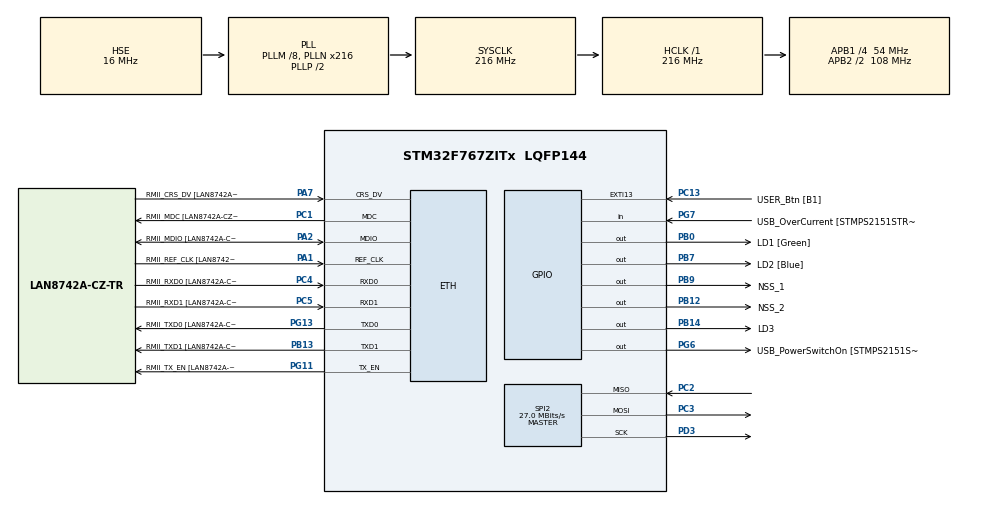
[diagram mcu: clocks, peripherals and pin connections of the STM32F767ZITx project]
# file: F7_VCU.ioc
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CORTEX_M7.BaseAddress-Cortex_Memory_Protection_Unit_Region0_Settings=0x20040000
CORTEX_M7.CPU_DCache=Enabled
CORTEX_M7.CPU_ICache=Enabled
CORTEX_M7.Enable-Cortex_Memory_Protection_Unit_Region0_Settings=MPU_REGION_ENABLE
CORTEX_M7.MPU_Control=MPU_PRIVILEGED_DEFAULT
CORTEX_M7.PREFETCH_ENABLE=1
CORTEX_M7.Size-Cortex_Memory_Protection_Unit_Region0_Settings=MPU_REGION_SIZE_16KB
CORTEX_M7.TypeExtField-Cortex_Memory_Protection_Unit_Region0_Settings=MPU_TEX_LEVEL1
Dma.Request0=SPI2_TX
Dma.Request1=SPI2_RX
Dma.SPI2_RX.1.Direction=DMA_PERIPH_TO_MEMORY
Dma.SPI2_RX.1.FIFOMode=DMA_FIFOMODE_DISABLE
Dma.SPI2_RX.1.Instance=DMA1_Stream1
Dma.SPI2_RX.1.MemDataAlignment=DMA_MDATAALIGN_BYTE
Dma.SPI2_RX.1.MemInc=DMA_MINC_ENABLE
Dma.SPI2_RX.1.Mode=DMA_NORMAL
Dma.SPI2_RX.1.PeriphDataAlignment=DMA_PDATAALIGN_BYTE
Dma.SPI2_RX.1.PeriphInc=DMA_PINC_DISABLE
Dma.SPI2_RX.1.Priority=DMA_PRIORITY_LOW
Dma.SPI2_TX.0.Direction=DMA_MEMORY_TO_PERIPH
Dma.SPI2_TX.0.FIFOMode=DMA_FIFOMODE_DISABLE
Dma.SPI2_TX.0.Instance=DMA1_Stream4
Dma.SPI2_TX.0.MemDataAlignment=DMA_MDATAALIGN_BYTE
Dma.SPI2_TX.0.MemInc=DMA_MINC_ENABLE
Dma.SPI2_TX.0.Mode=DMA_NORMAL
Dma.SPI2_TX.0.PeriphDataAlignment=DMA_PDATAALIGN_BYTE
Dma.SPI2_TX.0.PeriphInc=DMA_PINC_DISABLE
Dma.SPI2_TX.0.Priority=DMA_PRIORITY_LOW
ETH.ETH_RX_DESC_CNT=4
ETH.ETH_TX_DESC_CNT=4
ETH.MediaInterface=HAL_ETH_RMII_MODE
ETH.RxDescAddress=0x20040000
ETH.TxDescAddress=0x20040a00
LWIP.BSP.number=1
LWIP.GATEWAY_ADDRESS=192.168.001.001
LWIP.IP_ADDRESS=192.168.001.002
LWIP.LWIP_ARP=1
LWIP.LWIP_DHCP=0
LWIP.LWIP_ICMP=1
LWIP.MEM_SIZE=10*1024
LWIP.NETMASK_ADDRESS=255.255.255.000
LWIP.Version=v2.1.2_Cube
LWIP0.BSP.STBoard=false
LWIP0.BSP.api=BSP_COMPONENT_DRIVER
LWIP0.BSP.component=LAN8742
LWIP0.BSP.instance=LAN8742
LWIP0.BSP.name=Driver_PHY
LWIP0.BSP.semaphore=S_LAN8742
LWIP0.BSP.solution=LAN8742
Mcu.Family=STM32F7
Mcu.Name=STM32F767ZITx
Mcu.Package=LQFP144
NVIC.DMA1_Stream1_IRQn=true\:0\:0\:false\:false\:true\:false\:true\:true
NVIC.DMA1_Stream4_IRQn=true\:0\:0\:false\:false\:true\:false\:true\:true
NVIC.ETH_IRQn=true\:0\:0\:false\:false\:true\:true\:true\:true
NVIC.PriorityGroup=NVIC_PRIORITYGROUP_4
NVIC.TIM1_UP_TIM10_IRQn=true\:0\:0\:false\:false\:true\:true\:true\:true
NVIC.TIM6_DAC_IRQn=true\:0\:0\:false\:false\:true\:true\:true\:true
PA1.GPIO_Label=RMII_REF_CLK [LAN8742A-CZ-TR_REFCLK0]
PA1.Mode=RMII
PA1.Signal=ETH_REF_CLK
PA10.GPIO_Label=USB_ID
PA10.Signal=USB_OTG_FS_ID
PA11.GPIO_Label=USB_DM
PA11.Signal=USB_OTG_FS_DM
PA12.GPIO_Label=USB_DP
PA12.Signal=USB_OTG_FS_DP
PA13.GPIO_Label=TMS
PA13.Signal=SYS_JTMS-SWDIO
PA14.GPIO_Label=TCK
PA14.Signal=SYS_JTCK-SWCLK
PA2.GPIO_Label=RMII_MDIO [LAN8742A-CZ-TR_MDIO]
PA2.Mode=RMII
PA2.Signal=ETH_MDIO
PA7.GPIO_Label=RMII_CRS_DV [LAN8742A-CZ-TR_CRS_DV]
PA7.Mode=RMII
PA7.Signal=ETH_CRS_DV
PA8.GPIO_Label=USB_SOF [TP1]
PA8.Signal=USB_OTG_FS_SOF
PA9.GPIO_Label=USB_VBUS
PA9.Signal=USB_OTG_FS_VBUS
PB0.GPIO_Label=LD1 [Green]
PB0.Signal=GPIO_Output
PB12.GPIO_Label=NSS_2
PB12.Signal=GPIO_Output
PB13.GPIO_Label=RMII_TXD1 [LAN8742A-CZ-TR_TXD1]
PB13.Mode=RMII
PB13.Signal=ETH_TXD1
PB14.GPIO_Label=LD3
PB14.Signal=GPIO_Output
PB3.GPIO_Label=SW0
PB3.Signal=SYS_JTDO-SWO
PB7.GPIO_Label=LD2 [Blue]
PB7.Signal=GPIO_Output
PB9.GPIO_Label=NSS_1
PB9.Signal=GPIO_Output
PC1.GPIO_Label=RMII_MDC [LAN8742A-CZ-TR_MDC]
PC1.Mode=RMII
PC1.Signal=ETH_MDC
PC13.GPIO_Label=USER_Btn [B1]
PC13.Signal=GPXTI13
PC14/OSC32_IN.Signal=RCC_OSC32_IN
PC15/OSC32_OUT.Signal=RCC_OSC32_OUT
PC2.Mode=Full_Duplex_Master
PC2.Signal=SPI2_MISO
PC3.Mode=Full_Duplex_Master
PC3.Signal=SPI2_MOSI
PC4.GPIO_Label=RMII_RXD0 [LAN8742A-CZ-TR_RXD0]
PC4.Mode=RMII
PC4.Signal=ETH_RXD0
PC5.GPIO_Label=RMII_RXD1 [LAN8742A-CZ-TR_RXD1]
PC5.Mode=RMII
PC5.Signal=ETH_RXD1
PD3.Mode=Full_Duplex_Master
PD3.Signal=SPI2_SCK
PD8.GPIO_Label=STLK_RX [STM32F103CBT6_PA3]
PD8.Signal=USART3_TX
PD9.GPIO_Label=STLK_TX [STM32F103CBT6_PA2]
PD9.Signal=USART3_RX
PG11.GPIO_Label=RMII_TX_EN [LAN8742A-CZ-TR_TXEN]
PG11.Mode=RMII
PG11.Signal=ETH_TX_EN
PG13.GPIO_Label=RMII_TXD0 [LAN8742A-CZ-TR_TXD0]
PG13.Mode=RMII
PG13.Signal=ETH_TXD0
PG6.GPIO_Label=USB_PowerSwitchOn [STMPS2151STR_EN]
PG6.Signal=GPIO_Output
PG7.GPIO_Label=USB_OverCurrent [STMPS2151STR_FAULT]
PG7.Signal=GPIO_Input
PH0/OSC_IN.GPIO_Label=MCO [STM32F103CBT6_PA8]
PH0/OSC_IN.Mode=HSE-External-Oscillator
PH0/OSC_IN.Signal=RCC_OSC_IN
PH1/OSC_OUT.Mode=HSE-External-Oscillator
PH1/OSC_OUT.Signal=RCC_OSC_OUT
ProjectManager.HeapSize=0x200
ProjectManager.StackSize=0x400
ProjectManager.TargetToolchain=STM32CubeIDE
RCC.48MHZClocksFreq_Value=24000000
RCC.AHBFreq_Value=216000000
RCC.APB1CLKDivider=RCC_HCLK_DIV4
RCC.APB1Freq_Value=54000000
RCC.APB1TimFreq_Value=108000000
RCC.APB2CLKDivider=RCC_HCLK_DIV2
RCC.APB2Freq_Value=108000000
RCC.APB2TimFreq_Value=216000000
RCC.CortexFreq_Value=216000000
RCC.HCLKFreq_Value=216000000
RCC.HSE_VALUE=16000000
RCC.HSI_VALUE=16000000
RCC.LSE_VALUE=32768
RCC.PLLM=8
RCC.PLLMUL=RCC_PLL_MUL9
RCC.PLLN=216
RCC.PLLSourceVirtual=RCC_PLLSOURCE_HSE
RCC.PRESCALERUSB=RCC_USBCLKSOURCE_PLL_DIV1_5
RCC.SYSCLKFreq_VALUE=216000000
RCC.SYSCLKSource=RCC_SYSCLKSOURCE_PLLCLK
RCC.SYSCLKSourceVirtual=RCC_SYSCLKSOURCE_PLLCLK
RCC.USBFreq_Value=216000000
RCC.VCOOutputFreq_Value=432000000
SPI2.BaudRatePrescaler=SPI_BAUDRATEPRESCALER_2
SPI2.CalculateBaudRate=27.0 MBits/s
SPI2.DataSize=SPI_DATASIZE_8BIT
SPI2.Direction=SPI_DIRECTION_2LINES
SPI2.Mode=SPI_MODE_MASTER
SPI2.VirtualType=VM_MASTER
TIM1.Period=10000
TIM1.Prescaler=12000
TIM6.Period=5000-1
TIM6.Prescaler=2160-1
VP_LWIP_VS_Enabled.Mode=Enabled
VP_TIM1_VS_ClockSourceINT.Mode=Internal
VP_TIM6_VS_ClockSourceINT.Mode=Enable_Timer
board=NUCLEO-F767ZI

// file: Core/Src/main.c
/* USER CODE BEGIN Header */
/**
  ******************************************************************************
  * @file           : main.c
  * @brief          : Main program body
  ******************************************************************************
  * @attention
  *
  * Copyright (c) 2024 STMicroelectronics.
  * All rights reserved.
  *
  * This software is licensed under terms that can be found in the LICENSE file
  * in the root directory of this software component.
  * If no LICENSE file comes with this software, it is provided AS-IS.
  *
  ******************************************************************************
  */
/* USER CODE END Header */
#include "main.h"
#include "lwip.h"

SPI_HandleTypeDef hspi2;
DMA_HandleTypeDef hdma_spi2_tx;
DMA_HandleTypeDef hdma_spi2_rx;

TIM_HandleTypeDef htim1;
TIM_HandleTypeDef htim6;

/* USER CODE BEGIN PV */
uint8_t txBuff[] = {1,2,3,4,5,6,7,8,9,10,11,12,13,14,15,16,17,18,19,20};
uint8_t rxBuff[20];
uint8_t FLAG_SPI_BUS_IN_USE = 0;

/* USER CODE END PV */

void SystemClock_Config(void);
//static void MPU_Initialize(void);
static void MPU_Config(void);
static void MX_GPIO_Init(void);
static void MX_DMA_Init(void);
static void MX_TIM1_Init(void);
static void MX_SPI2_Init(void);
static void MX_TIM6_Init(void);

/* USER CODE BEGIN 0 */
extern struct netif gnetif;

/* USER CODE END 0 */

int main(void)
{

  /* Enable I-Cache---------------------------------------------------------*/
  SCB_EnableICache();

  /* Enable D-Cache---------------------------------------------------------*/
  SCB_EnableDCache();

  /* MCU Configuration--------------------------------------------------------*/

  /* Reset of all peripherals, Initializes the Flash interface and the Systick. */
  HAL_Init();

  /* MPU Configuration--------------------------------------------------------*/
  MPU_Config();

  /* Configure the system clock */
  SystemClock_Config();

  /* Initialize all configured peripherals */
  MX_GPIO_Init();
  MX_DMA_Init();
  MX_TIM1_Init();
  MX_SPI2_Init();
  MX_LWIP_Init();
  MX_TIM6_Init();
  /* USER CODE BEGIN 2 */
  udpServer_init();
  udpClient_connect();
  tcp_server_init();
  HAL_TIM_Base_Start_IT(&htim1);
  HAL_TIM_Base_Start_IT(&htim6);
  HAL_GPIO_WritePin(GPIOA, NSS_1_Pin, GPIO_PIN_SET);

  //udpClient_connect();

  /* USER CODE END 2 */

  /* Infinite loop */
  while (1)
  {

    /* USER CODE BEGIN 3 */
	  MX_LWIP_Process();

  }
  /* USER CODE END 3 */
}

void SystemClock_Config(void)
{
  RCC_OscInitTypeDef RCC_OscInitStruct = {0};
  RCC_ClkInitTypeDef RCC_ClkInitStruct = {0};

  /** Configure the main internal regulator output voltage
  */
  __HAL_RCC_PWR_CLK_ENABLE();
  __HAL_PWR_VOLTAGESCALING_CONFIG(PWR_REGULATOR_VOLTAGE_SCALE1);

  /** Initializes the RCC Oscillators according to the specified parameters
  * in the RCC_OscInitTypeDef structure.
  */
  RCC_OscInitStruct.OscillatorType = RCC_OSCILLATORTYPE_HSE;
  RCC_OscInitStruct.HSEState = RCC_HSE_ON;
  RCC_OscInitStruct.PLL.PLLState = RCC_PLL_ON;
  RCC_OscInitStruct.PLL.PLLSource = RCC_PLLSOURCE_HSE;
  RCC_OscInitStruct.PLL.PLLM = 8;
  RCC_OscInitStruct.PLL.PLLN = 216;
  RCC_OscInitStruct.PLL.PLLP = RCC_PLLP_DIV2;
  RCC_OscInitStruct.PLL.PLLQ = 2;
  RCC_OscInitStruct.PLL.PLLR = 2;
  if (HAL_RCC_OscConfig(&RCC_OscInitStruct) != HAL_OK)
  {
    Error_Handler();
  }

  /** Activate the Over-Drive mode
  */
  if (HAL_PWREx_EnableOverDrive() != HAL_OK)
  {
    Error_Handler();
  }

  /** Initializes the CPU, AHB and APB buses clocks
  */
  RCC_ClkInitStruct.ClockType = RCC_CLOCKTYPE_HCLK|RCC_CLOCKTYPE_SYSCLK
                              |RCC_CLOCKTYPE_PCLK1|RCC_CLOCKTYPE_PCLK2;
  RCC_ClkInitStruct.SYSCLKSource = RCC_SYSCLKSOURCE_PLLCLK;
  RCC_ClkInitStruct.AHBCLKDivider = RCC_SYSCLK_DIV1;
  RCC_ClkInitStruct.APB1CLKDivider = RCC_HCLK_DIV4;
  RCC_ClkInitStruct.APB2CLKDivider = RCC_HCLK_DIV2;

  if (HAL_RCC_ClockConfig(&RCC_ClkInitStruct, FLASH_LATENCY_7) != HAL_OK)
  {
    Error_Handler();
  }
}

static void MX_SPI2_Init(void)
{

  /* SPI2 parameter configuration*/
  hspi2.Instance = SPI2;
  hspi2.Init.Mode = SPI_MODE_MASTER;
  hspi2.Init.Direction = SPI_DIRECTION_2LINES;
  hspi2.Init.DataSize = SPI_DATASIZE_8BIT;
  hspi2.Init.CLKPolarity = SPI_POLARITY_LOW;
  hspi2.Init.CLKPhase = SPI_PHASE_1EDGE;
  hspi2.Init.NSS = SPI_NSS_SOFT;
  hspi2.Init.BaudRatePrescaler = SPI_BAUDRATEPRESCALER_2;
  hspi2.Init.FirstBit = SPI_FIRSTBIT_MSB;
  hspi2.Init.TIMode = SPI_TIMODE_DISABLE;
  hspi2.Init.CRCCalculation = SPI_CRCCALCULATION_DISABLE;
  hspi2.Init.CRCPolynomial = 7;
  hspi2.Init.CRCLength = SPI_CRC_LENGTH_DATASIZE;
  hspi2.Init.NSSPMode = SPI_NSS_PULSE_ENABLE;
  if (HAL_SPI_Init(&hspi2) != HAL_OK)
  {
    Error_Handler();
  }

}

static void MX_TIM1_Init(void)
{

  TIM_ClockConfigTypeDef sClockSourceConfig = {0};
  TIM_MasterConfigTypeDef sMasterConfig = {0};

  htim1.Instance = TIM1;
  htim1.Init.Prescaler = 12000;
  htim1.Init.CounterMode = TIM_COUNTERMODE_UP;
  htim1.Init.Period = 10000;
  htim1.Init.ClockDivision = TIM_CLOCKDIVISION_DIV1;
  htim1.Init.RepetitionCounter = 0;
  htim1.Init.AutoReloadPreload = TIM_AUTORELOAD_PRELOAD_DISABLE;
  if (HAL_TIM_Base_Init(&htim1) != HAL_OK)
  {
    Error_Handler();
  }
  sClockSourceConfig.ClockSource = TIM_CLOCKSOURCE_INTERNAL;
  if (HAL_TIM_ConfigClockSource(&htim1, &sClockSourceConfig) != HAL_OK)
  {
    Error_Handler();
  }
  sMasterConfig.MasterOutputTrigger = TIM_TRGO_RESET;
  sMasterConfig.MasterOutputTrigger2 = TIM_TRGO2_RESET;
  sMasterConfig.MasterSlaveMode = TIM_MASTERSLAVEMODE_DISABLE;
  if (HAL_TIMEx_MasterConfigSynchronization(&htim1, &sMasterConfig) != HAL_OK)
  {
    Error_Handler();
  }

}

static void MX_TIM6_Init(void)
{

  TIM_MasterConfigTypeDef sMasterConfig = {0};

  htim6.Instance = TIM6;
  htim6.Init.Prescaler = 2160-1;
  htim6.Init.CounterMode = TIM_COUNTERMODE_UP;
  htim6.Init.Period = 5000-1;
  htim6.Init.AutoReloadPreload = TIM_AUTORELOAD_PRELOAD_DISABLE;
  if (HAL_TIM_Base_Init(&htim6) != HAL_OK)
  {
    Error_Handler();
  }
  sMasterConfig.MasterOutputTrigger = TIM_TRGO_RESET;
  sMasterConfig.MasterSlaveMode = TIM_MASTERSLAVEMODE_DISABLE;
  if (HAL_TIMEx_MasterConfigSynchronization(&htim6, &sMasterConfig) != HAL_OK)
  {
    Error_Handler();
  }

}

static void MX_DMA_Init(void)
{

  /* DMA controller clock enable */
  __HAL_RCC_DMA1_CLK_ENABLE();

  /* DMA interrupt init */
  /* DMA1_Stream1_IRQn interrupt configuration */
  HAL_NVIC_SetPriority(DMA1_Stream1_IRQn, 0, 0);
  HAL_NVIC_EnableIRQ(DMA1_Stream1_IRQn);
  /* DMA1_Stream4_IRQn interrupt configuration */
  HAL_NVIC_SetPriority(DMA1_Stream4_IRQn, 0, 0);
  HAL_NVIC_EnableIRQ(DMA1_Stream4_IRQn);

}

static void MX_GPIO_Init(void)
{
  GPIO_InitTypeDef GPIO_InitStruct = {0};

  /* GPIO Ports Clock Enable */
  __HAL_RCC_GPIOC_CLK_ENABLE();
  __HAL_RCC_GPIOH_CLK_ENABLE();
  __HAL_RCC_GPIOA_CLK_ENABLE();
  __HAL_RCC_GPIOB_CLK_ENABLE();
  __HAL_RCC_GPIOD_CLK_ENABLE();
  __HAL_RCC_GPIOG_CLK_ENABLE();

  /*Configure GPIO pin Output Level */
  HAL_GPIO_WritePin(GPIOB, LD1_Pin|NSS_2_Pin|LD3_Pin|LD2_Pin
                          |NSS_1_Pin, GPIO_PIN_RESET);

  /*Configure GPIO pin Output Level */
  HAL_GPIO_WritePin(USB_PowerSwitchOn_GPIO_Port, USB_PowerSwitchOn_Pin, GPIO_PIN_RESET);

  /*Configure GPIO pin : USER_Btn_Pin */
  GPIO_InitStruct.Pin = USER_Btn_Pin;
  GPIO_InitStruct.Mode = GPIO_MODE_IT_RISING;
  GPIO_InitStruct.Pull = GPIO_NOPULL;
  HAL_GPIO_Init(USER_Btn_GPIO_Port, &GPIO_InitStruct);

  /*Configure GPIO pins : LD1_Pin NSS_2_Pin LD3_Pin LD2_Pin
                           NSS_1_Pin */
  GPIO_InitStruct.Pin = LD1_Pin|NSS_2_Pin|LD3_Pin|LD2_Pin
                          |NSS_1_Pin;
  GPIO_InitStruct.Mode = GPIO_MODE_OUTPUT_PP;
  GPIO_InitStruct.Pull = GPIO_NOPULL;
  GPIO_InitStruct.Speed = GPIO_SPEED_FREQ_LOW;
  HAL_GPIO_Init(GPIOB, &GPIO_InitStruct);

  /*Configure GPIO pins : STLK_RX_Pin STLK_TX_Pin */
  GPIO_InitStruct.Pin = STLK_RX_Pin|STLK_TX_Pin;
  GPIO_InitStruct.Mode = GPIO_MODE_AF_PP;
  GPIO_InitStruct.Pull = GPIO_NOPULL;
  GPIO_InitStruct.Speed = GPIO_SPEED_FREQ_VERY_HIGH;
  GPIO_InitStruct.Alternate = GPIO_AF7_USART3;
  HAL_GPIO_Init(GPIOD, &GPIO_InitStruct);

  /*Configure GPIO pin : USB_PowerSwitchOn_Pin */
  GPIO_InitStruct.Pin = USB_PowerSwitchOn_Pin;
  GPIO_InitStruct.Mode = GPIO_MODE_OUTPUT_PP;
  GPIO_InitStruct.Pull = GPIO_NOPULL;
  GPIO_InitStruct.Speed = GPIO_SPEED_FREQ_LOW;
  HAL_GPIO_Init(USB_PowerSwitchOn_GPIO_Port, &GPIO_InitStruct);

  /*Configure GPIO pin : USB_OverCurrent_Pin */
  GPIO_InitStruct.Pin = USB_OverCurrent_Pin;
  GPIO_InitStruct.Mode = GPIO_MODE_INPUT;
  GPIO_InitStruct.Pull = GPIO_NOPULL;
  HAL_GPIO_Init(USB_OverCurrent_GPIO_Port, &GPIO_InitStruct);

  /*Configure GPIO pins : USB_SOF_Pin USB_ID_Pin USB_DM_Pin USB_DP_Pin */
  GPIO_InitStruct.Pin = USB_SOF_Pin|USB_ID_Pin|USB_DM_Pin|USB_DP_Pin;
  GPIO_InitStruct.Mode = GPIO_MODE_AF_PP;
  GPIO_InitStruct.Pull = GPIO_NOPULL;
  GPIO_InitStruct.Speed = GPIO_SPEED_FREQ_VERY_HIGH;
  GPIO_InitStruct.Alternate = GPIO_AF10_OTG_FS;
  HAL_GPIO_Init(GPIOA, &GPIO_InitStruct);

  /*Configure GPIO pin : USB_VBUS_Pin */
  GPIO_InitStruct.Pin = USB_VBUS_Pin;
  GPIO_InitStruct.Mode = GPIO_MODE_INPUT;
  GPIO_InitStruct.Pull = GPIO_NOPULL;
  HAL_GPIO_Init(USB_VBUS_GPIO_Port, &GPIO_InitStruct);

}

/* USER CODE BEGIN 4 */
void HAL_SPI_TxRxCpltCallback(SPI_HandleTypeDef *hspi)
{
    //Release NSS after transfer
	HAL_GPIO_WritePin(GPIOA, NSS_1_Pin, GPIO_PIN_SET);
	FLAG_SPI_BUS_IN_USE = 0;
    for (int i = 0; i < sizeof(txBuff); i++) {
        txBuff[i] += 1;
    }
    HAL_GPIO_TogglePin(GPIOB, LD3_Pin); //Indicator led

}

void HAL_TIM_PeriodElapsedCallback(TIM_HandleTypeDef *htim)
{
	//

	if(htim == &htim6 && !FLAG_SPI_BUS_IN_USE)
	{

		HAL_GPIO_WritePin(GPIOB, NSS_1_Pin, GPIO_PIN_RESET);
		if(HAL_SPI_TransmitReceive_DMA(&hspi2, txBuff,rxBuff, sizeof(txBuff)) != HAL_OK)
		{
			Error_Handler();
		}

		FLAG_SPI_BUS_IN_USE = 1;
	}
	else if(htim == &htim1)
	{
		udpClient_send();
	}

}

/* USER CODE END 4 */

/* MPU Configuration */

void MPU_Config(void)
{
  MPU_Region_InitTypeDef MPU_InitStruct = {0};

  /* Disables the MPU */
  HAL_MPU_Disable();

  /** Initializes and configures the Region and the memory to be protected
  */
  MPU_InitStruct.Enable = MPU_REGION_ENABLE;
  MPU_InitStruct.Number = MPU_REGION_NUMBER0;
  MPU_InitStruct.BaseAddress = 0x20040000;
  MPU_InitStruct.Size = MPU_REGION_SIZE_16KB;
  MPU_InitStruct.SubRegionDisable = 0x0;
  MPU_InitStruct.TypeExtField = MPU_TEX_LEVEL1;
  MPU_InitStruct.AccessPermission = MPU_REGION_NO_ACCESS;
  MPU_InitStruct.DisableExec = MPU_INSTRUCTION_ACCESS_ENABLE;
  MPU_InitStruct.IsShareable = MPU_ACCESS_NOT_SHAREABLE;
  MPU_InitStruct.IsCacheable = MPU_ACCESS_NOT_CACHEABLE;
  MPU_InitStruct.IsBufferable = MPU_ACCESS_NOT_BUFFERABLE;

  HAL_MPU_ConfigRegion(&MPU_InitStruct);
  /* Enables the MPU */
  HAL_MPU_Enable(MPU_PRIVILEGED_DEFAULT);

}

void Error_Handler(void)
{
  __disable_irq();
  while (1)
  {
  }
}
